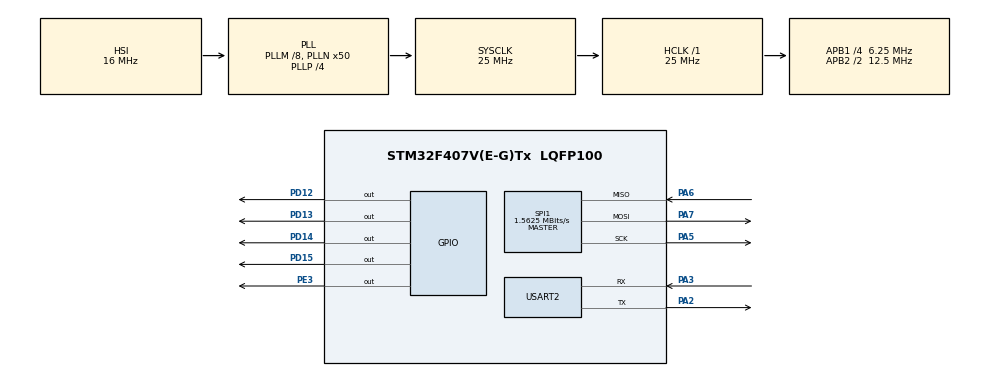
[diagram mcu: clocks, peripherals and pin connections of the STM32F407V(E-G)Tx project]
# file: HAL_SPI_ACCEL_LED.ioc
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Mcu.Family=STM32F4
Mcu.Name=STM32F407V(E-G)Tx
Mcu.Package=LQFP100
NVIC.PriorityGroup=NVIC_PRIORITYGROUP_0
PA2.Mode=Asynchronous
PA2.Signal=USART2_TX
PA3.Mode=Asynchronous
PA3.Signal=USART2_RX
PA5.Mode=Full_Duplex_Master
PA5.Signal=SPI1_SCK
PA6.Mode=Full_Duplex_Master
PA6.Signal=SPI1_MISO
PA7.Mode=Full_Duplex_Master
PA7.Signal=SPI1_MOSI
PD12.Signal=GPIO_Output
PD13.Signal=GPIO_Output
PD14.Signal=GPIO_Output
PD15.Signal=GPIO_Output
PE3.Signal=GPIO_Output
ProjectManager.HeapSize=0x200
ProjectManager.StackSize=0x400
ProjectManager.TargetToolchain=STM32CubeIDE
RCC.48MHZClocksFreq_Value=14285714.285714285
RCC.AHBFreq_Value=25000000
RCC.APB1CLKDivider=RCC_HCLK_DIV4
RCC.APB1Freq_Value=6250000
RCC.APB1TimFreq_Value=12500000
RCC.APB2CLKDivider=RCC_HCLK_DIV2
RCC.APB2Freq_Value=12500000
RCC.APB2TimFreq_Value=25000000
RCC.CortexFreq_Value=25000000
RCC.HCLKFreq_Value=25000000
RCC.HSE_VALUE=8000000
RCC.HSI_VALUE=16000000
RCC.LSE_VALUE=32768
RCC.PLLM=8
RCC.PLLN=50
RCC.PLLP=RCC_PLLP_DIV4
RCC.PLLQ=7
RCC.SYSCLKFreq_VALUE=25000000
RCC.SYSCLKSource=RCC_SYSCLKSOURCE_PLLCLK
RCC.VCOOutputFreq_Value=100000000
SPI1.BaudRatePrescaler=SPI_BAUDRATEPRESCALER_8
SPI1.CalculateBaudRate=1.5625 MBits/s
SPI1.Direction=SPI_DIRECTION_2LINES
SPI1.Mode=SPI_MODE_MASTER
SPI1.VirtualType=VM_MASTER
USART2.VirtualMode=VM_ASYNC
board=STM32F407G-DISC1

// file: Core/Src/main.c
/* USER CODE BEGIN Header */
/**
  ******************************************************************************
  * @file           : main.c
  * @brief          : Main program body
  ******************************************************************************
  * @attention
  *
  * Copyright (c) 2026 STMicroelectronics.
  * All rights reserved.
  *
  * This software is licensed under terms that can be found in the LICENSE file
  * in the root directory of this software component.
  * If no LICENSE file comes with this software, it is provided AS-IS.
  *
  ******************************************************************************
  */
/* USER CODE END Header */
#include "main.h"

/* USER CODE BEGIN Includes */
#include <stdio.h>
#include <string.h>
#include "lis3dsh.h"
#include "led.h"
/* USER CODE END Includes */

SPI_HandleTypeDef hspi1;

UART_HandleTypeDef huart2;

void SystemClock_Config(void);
static void MX_GPIO_Init(void);
static void MX_SPI1_Init(void);
static void MX_USART2_UART_Init(void);

int main(void)
{

  /* MCU Configuration--------------------------------------------------------*/

  /* Reset of all peripherals, Initializes the Flash interface and the Systick. */
  HAL_Init();

  /* Configure the system clock */
  SystemClock_Config();

  /* Initialize all configured peripherals */
  MX_GPIO_Init();
  MX_SPI1_Init();
  MX_USART2_UART_Init();
  /* USER CODE BEGIN 2 */
  HAL_UART_Transmit(&huart2, (uint8_t*)"Accel!\r\n", 8, HAL_MAX_DELAY);
  accel_init();

  /* USER CODE END 2 */

  /* Infinite loop */
  /* USER CODE BEGIN WHILE */
  while (1)
  {

	      char str[50];

	      AccelRead_t val = accel_get_xyz();

	      sprintf(str, "X=%d,Y=%d,Z=%d\r\n", val.x, val.y, val.z);
	      HAL_UART_Transmit(&huart2, (uint8_t*)str, strlen(str), HAL_MAX_DELAY);

	      if (val.x > 2500)
	    	  HAL_GPIO_WritePin(GPIOD, GPIO_PIN_12, GPIO_PIN_SET);
	      else
	    	  HAL_GPIO_WritePin(GPIOD, GPIO_PIN_12, GPIO_PIN_RESET);

	      if (val.x < -2500)
	    	  HAL_GPIO_WritePin(GPIOD, GPIO_PIN_13, GPIO_PIN_SET);
	      else
	    	  HAL_GPIO_WritePin(GPIOD, GPIO_PIN_13ss, GPIO_PIN_RESET);

	      if (val.y > 2000)
	    	  HAL_GPIO_WritePin(GPIOD, GPIO_PIN_14, GPIO_PIN_SET);
	      else
	          HAL_GPIO_WritePin(GPIOD, GPIO_PIN_14, GPIO_PIN_RESET);

	      if (val.y < -2000)
	    	  HAL_GPIO_WritePin(GPIOD, GPIO_PIN_15, GPIO_PIN_SET);
	      else
	          HAL_GPIO_WritePin(GPIOD, GPIO_PIN_15, GPIO_PIN_RESET);

	      HAL_Delay(200);

    /* USER CODE END WHILE */

  }
}

void SystemClock_Config(void)
{
  RCC_OscInitTypeDef RCC_OscInitStruct = {0};
  RCC_ClkInitTypeDef RCC_ClkInitStruct = {0};

  /** Configure the main internal regulator output voltage
  */
  __HAL_RCC_PWR_CLK_ENABLE();
  __HAL_PWR_VOLTAGESCALING_CONFIG(PWR_REGULATOR_VOLTAGE_SCALE1);

  /** Initializes the RCC Oscillators according to the specified parameters
  * in the RCC_OscInitTypeDef structure.
  */
  RCC_OscInitStruct.OscillatorType = RCC_OSCILLATORTYPE_HSI;
  RCC_OscInitStruct.HSIState = RCC_HSI_ON;
  RCC_OscInitStruct.HSICalibrationValue = RCC_HSICALIBRATION_DEFAULT;
  RCC_OscInitStruct.PLL.PLLState = RCC_PLL_ON;
  RCC_OscInitStruct.PLL.PLLSource = RCC_PLLSOURCE_HSI;
  RCC_OscInitStruct.PLL.PLLM = 8;
  RCC_OscInitStruct.PLL.PLLN = 50;
  RCC_OscInitStruct.PLL.PLLP = RCC_PLLP_DIV4;
  RCC_OscInitStruct.PLL.PLLQ = 7;
  if (HAL_RCC_OscConfig(&RCC_OscInitStruct) != HAL_OK)
  {
    Error_Handler();
  }

  /** Initializes the CPU, AHB and APB buses clocks
  */
  RCC_ClkInitStruct.ClockType = RCC_CLOCKTYPE_HCLK|RCC_CLOCKTYPE_SYSCLK
                              |RCC_CLOCKTYPE_PCLK1|RCC_CLOCKTYPE_PCLK2;
  RCC_ClkInitStruct.SYSCLKSource = RCC_SYSCLKSOURCE_PLLCLK;
  RCC_ClkInitStruct.AHBCLKDivider = RCC_SYSCLK_DIV1;
  RCC_ClkInitStruct.APB1CLKDivider = RCC_HCLK_DIV4;
  RCC_ClkInitStruct.APB2CLKDivider = RCC_HCLK_DIV2;

  if (HAL_RCC_ClockConfig(&RCC_ClkInitStruct, FLASH_LATENCY_0) != HAL_OK)
  {
    Error_Handler();
  }
}

static void MX_SPI1_Init(void)
{

  /* SPI1 parameter configuration*/
  hspi1.Instance = SPI1;
  hspi1.Init.Mode = SPI_MODE_MASTER;
  hspi1.Init.Direction = SPI_DIRECTION_2LINES;
  hspi1.Init.DataSize = SPI_DATASIZE_8BIT;
  hspi1.Init.CLKPolarity = SPI_POLARITY_LOW;
  hspi1.Init.CLKPhase = SPI_PHASE_1EDGE;
  hspi1.Init.NSS = SPI_NSS_SOFT;
  hspi1.Init.BaudRatePrescaler = SPI_BAUDRATEPRESCALER_8;
  hspi1.Init.FirstBit = SPI_FIRSTBIT_MSB;
  hspi1.Init.TIMode = SPI_TIMODE_DISABLE;
  hspi1.Init.CRCCalculation = SPI_CRCCALCULATION_DISABLE;
  hspi1.Init.CRCPolynomial = 10;
  if (HAL_SPI_Init(&hspi1) != HAL_OK)
  {
    Error_Handler();
  }

}

static void MX_USART2_UART_Init(void)
{

  huart2.Instance = USART2;
  huart2.Init.BaudRate = 115200;
  huart2.Init.WordLength = UART_WORDLENGTH_8B;
  huart2.Init.StopBits = UART_STOPBITS_1;
  huart2.Init.Parity = UART_PARITY_NONE;
  huart2.Init.Mode = UART_MODE_TX_RX;
  huart2.Init.HwFlowCtl = UART_HWCONTROL_NONE;
  huart2.Init.OverSampling = UART_OVERSAMPLING_16;
  if (HAL_UART_Init(&huart2) != HAL_OK)
  {
    Error_Handler();
  }

}

static void MX_GPIO_Init(void)
{
  GPIO_InitTypeDef GPIO_InitStruct = {0};
  /* USER CODE BEGIN MX_GPIO_Init_1 */

  /* USER CODE END MX_GuPIO_Init_1 */

  /* GPIO Ports Clock Enable */
  __HAL_RCC_GPIOE_CLK_ENABLE();
  __HAL_RCC_GPIOA_CLK_ENABLE();
  __HAL_RCC_GPIOD_CLK_ENABLE();

  /*Configure GPIO pin Output Level */
  HAL_GPIO_WritePin(GPIOE, GPIO_PIN_3, GPIO_PIN_RESET);

  /*Configure GPIO pin Output Level */
  HAL_GPIO_WritePin(GPIOD, GPIO_PIN_12|GPIO_PIN_13|GPIO_PIN_14|GPIO_PIN_15, GPIO_PIN_RESET);

  /*Configure GPIO pin : PE3 */
  GPIO_InitStruct.Pin = GPIO_PIN_3;
  GPIO_InitStruct.Mode = GPIO_MODE_OUTPUT_PP;
  GPIO_InitStruct.Pull = GPIO_NOPULL;
  GPIO_InitStruct.Speed = GPIO_SPEED_FREQ_LOW;
  HAL_GPIO_Init(GPIOE, &GPIO_InitStruct);

  /*Configure GPIO pins : PD12 PD13 PD14 PD15 */
  GPIO_InitStruct.Pin = GPIO_PIN_12|GPIO_PIN_13|GPIO_PIN_14|GPIO_PIN_15;
  GPIO_InitStruct.Mode = GPIO_MODE_OUTPUT_PP;
  GPIO_InitStruct.Pull = GPIO_NOPULL;
  GPIO_InitStruct.Speed = GPIO_SPEED_FREQ_LOW;
  HAL_GPIO_Init(GPIOD, &GPIO_InitStruct);

}

void Error_Handler(void)
{
  __disable_irq();
  while (1)
  {
  }
}
